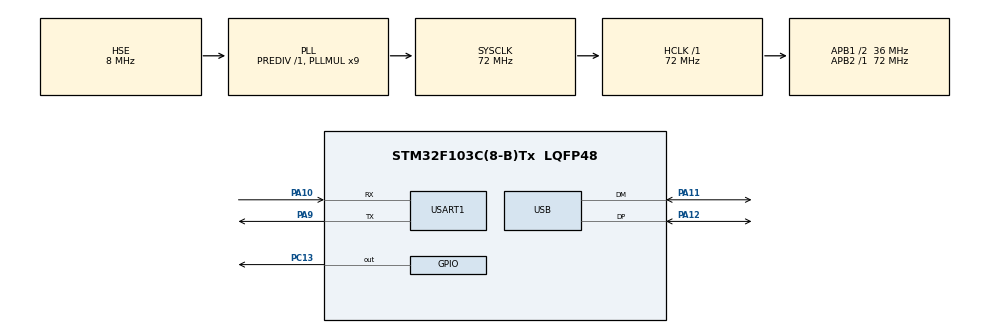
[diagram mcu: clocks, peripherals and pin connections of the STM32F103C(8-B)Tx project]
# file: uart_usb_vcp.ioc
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Dma.Request0=USART1_RX
Dma.Request1=USART1_TX
Dma.USART1_RX.0.Direction=DMA_PERIPH_TO_MEMORY
Dma.USART1_RX.0.Instance=DMA1_Channel5
Dma.USART1_RX.0.MemDataAlignment=DMA_MDATAALIGN_BYTE
Dma.USART1_RX.0.MemInc=DMA_MINC_ENABLE
Dma.USART1_RX.0.Mode=DMA_CIRCULAR
Dma.USART1_RX.0.PeriphDataAlignment=DMA_PDATAALIGN_BYTE
Dma.USART1_RX.0.PeriphInc=DMA_PINC_DISABLE
Dma.USART1_RX.0.Priority=DMA_PRIORITY_LOW
Dma.USART1_TX.1.Direction=DMA_MEMORY_TO_PERIPH
Dma.USART1_TX.1.Instance=DMA1_Channel4
Dma.USART1_TX.1.MemDataAlignment=DMA_MDATAALIGN_BYTE
Dma.USART1_TX.1.MemInc=DMA_MINC_ENABLE
Dma.USART1_TX.1.Mode=DMA_NORMAL
Dma.USART1_TX.1.PeriphDataAlignment=DMA_PDATAALIGN_BYTE
Dma.USART1_TX.1.PeriphInc=DMA_PINC_DISABLE
Dma.USART1_TX.1.Priority=DMA_PRIORITY_LOW
Mcu.Family=STM32F1
Mcu.Name=STM32F103C(8-B)Tx
Mcu.Package=LQFP48
NVIC.DMA1_Channel4_IRQn=true\:0\:0\:false\:false\:true
NVIC.DMA1_Channel5_IRQn=true\:0\:0\:false\:false\:true
NVIC.PriorityGroup=NVIC_PRIORITYGROUP_4
NVIC.USART1_IRQn=true\:0\:0\:false\:false\:true
NVIC.USB_LP_CAN1_RX0_IRQn=true\:0\:0\:false\:false\:true
PA10.Mode=Asynchronous
PA10.Signal=USART1_RX
PA11.Mode=Device
PA11.Signal=USB_DM
PA12.Mode=Device
PA12.Signal=USB_DP
PA9.Mode=Asynchronous
PA9.Signal=USART1_TX
PC13-TAMPER-RTC.Signal=GPIO_Output
PD0-OSC_IN.Mode=HSE-External-Oscillator
PD0-OSC_IN.Signal=RCC_OSC_IN
PD1-OSC_OUT.Mode=HSE-External-Oscillator
PD1-OSC_OUT.Signal=RCC_OSC_OUT
ProjectManager.HeapSize=0x200
ProjectManager.StackSize=0x400
ProjectManager.TargetToolchain=Makefile
RCC.AHBFreq_Value=72000000
RCC.APB1CLKDivider=RCC_HCLK_DIV2
RCC.APB1Freq_Value=36000000
RCC.APB1TimFreq_Value=72000000
RCC.APB2Freq_Value=72000000
RCC.APB2TimFreq_Value=72000000
RCC.HCLKFreq_Value=72000000
RCC.PLLMUL=RCC_PLL_MUL9
RCC.SYSCLKFreq_VALUE=72000000
RCC.SYSCLKSource=RCC_SYSCLKSOURCE_PLLCLK
RCC.USBFreq_Value=48000000
RCC.USBPrescaler=RCC_USBCLKSOURCE_PLL_DIV1_5
USART1.VirtualMode=VM_ASYNC
USB_DEVICE.CLASS_NAME_FS=CDC
USB_DEVICE.VirtualMode=Cdc
USB_DEVICE.VirtualModeFS=Cdc_FS
VP_USB_DEVICE_VS_USB_DEVICE_CDC_FS.Mode=CDC_FS
board=uart_usb_vcp

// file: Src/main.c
/**
  ******************************************************************************
  * File Name          : main.c
  * Description        : Main program body
  ******************************************************************************
  * This notice applies to any and all portions of this file
  * that are not between comment pairs USER CODE BEGIN and
  * USER CODE END. Other portions of this file, whether
  * inserted by the user or by software development tools
  * are owned by their respective copyright owners.
  *
  * Copyright (c) 2017 STMicroelectronics International N.V.
  * All rights reserved.
  *
  * Redistribution and use in source and binary forms, with or without
  * modification, are permitted, provided that the following conditions are met:
  *
  * 1. Redistribution of source code must retain the above copyright notice,
  *    this list of conditions and the following disclaimer.
  * 2. Redistributions in binary form must reproduce the above copyright notice,
  *    this list of conditions and the following disclaimer in the documentation
  *    and/or other materials provided with the distribution.
  * 3. Neither the name of STMicroelectronics nor the names of other
  *    contributors to this software may be used to endorse or promote products
  *    derived from this software without specific written permission.
  * 4. This software, including modifications and/or derivative works of this
  *    software, must execute solely and exclusively on microcontroller or
  *    microprocessor devices manufactured by or for STMicroelectronics.
  * 5. Redistribution and use of this software other than as permitted under
  *    this license is void and will automatically terminate your rights under
  *    this license.
  *
  * THIS SOFTWARE IS PROVIDED BY STMICROELECTRONICS AND CONTRIBUTORS "AS IS"
  * AND ANY EXPRESS, IMPLIED OR STATUTORY WARRANTIES, INCLUDING, BUT NOT
  * LIMITED TO, THE IMPLIED WARRANTIES OF MERCHANTABILITY, FITNESS FOR A
  * PARTICULAR PURPOSE AND NON-INFRINGEMENT OF THIRD PARTY INTELLECTUAL PROPERTY
  * RIGHTS ARE DISCLAIMED TO THE FULLEST EXTENT PERMITTED BY LAW. IN NO EVENT
  * SHALL STMICROELECTRONICS OR CONTRIBUTORS BE LIABLE FOR ANY DIRECT, INDIRECT,
  * INCIDENTAL, SPECIAL, EXEMPLARY, OR CONSEQUENTIAL DAMAGES (INCLUDING, BUT NOT
  * LIMITED TO, PROCUREMENT OF SUBSTITUTE GOODS OR SERVICES; LOSS OF USE, DATA,
  * OR PROFITS; OR BUSINESS INTERRUPTION) HOWEVER CAUSED AND ON ANY THEORY OF
  * LIABILITY, WHETHER IN CONTRACT, STRICT LIABILITY, OR TORT (INCLUDING
  * NEGLIGENCE OR OTHERWISE) ARISING IN ANY WAY OUT OF THE USE OF THIS SOFTWARE,
  * EVEN IF ADVISED OF THE POSSIBILITY OF SUCH DAMAGE.
  *
  ******************************************************************************
  */
#include "main.h"
#include "stm32f1xx_hal.h"
#include "dma.h"
#include "usart.h"
#include "usb_device.h"
#include "gpio.h"

/* USER CODE BEGIN Includes */
#include "usbd_cdc_if.h"
/* USER CODE END Includes */

/* USER CODE BEGIN PV */
/* Private variables ---------------------------------------------------------*/
uint8_t received[] = "                                                                                            \n\r";
uint8_t tosend[512];
uint32_t tosend_begin = 0;
uint32_t tosend_end = 0;
uint8_t saved[4096];
uint32_t numsaved=0;

uint8_t num_rx_rounds = 0;

/* USER CODE END PV */

void SystemClock_Config(void);

/* USER CODE BEGIN PFP */
/* Private function prototypes -----------------------------------------------*/

/* USER CODE END PFP */

/* USER CODE BEGIN 0 */

void UART_send_from_buffer()
{
  if (tosend_begin == tosend_end) { return; }

  HAL_UART_StateTypeDef state = HAL_UART_GetState(&huart1);
  if (state != HAL_UART_STATE_READY  &&
      state != HAL_UART_STATE_BUSY_RX) { return; }

  uint32_t end = tosend_end;
  if (tosend_begin < end) {
    // begin is before end. haven't wrapped.
    HAL_UART_Transmit_DMA(&huart1, tosend+tosend_begin, end-tosend_begin);
    tosend_begin = end;
  } else {
    // wrapping.
    HAL_UART_Transmit_DMA(&huart1, tosend+tosend_begin, sizeof(tosend)-tosend_begin);
    tosend_begin = 0;
  }

}

void enqueue(uint8_t *data, uint32_t length)
{
  for(int i=0; i<length; i++) {
    tosend[tosend_end] = data[i];
    saved[numsaved] = data[i];
    tosend_end++;
    numsaved++;
    if (tosend_end>=sizeof(tosend)) {
      tosend_end = 0;
      tosend[tosend_end] = 'x';
      tosend_end++;
      saved[numsaved] = 'x';
      numsaved++;
    }
    tosend[tosend_end] = 0;
    saved[numsaved] = 0;
  }

}

// from the terminal that I'm using, the data comes in two chunks
// the first is the data to be send.
// the second is a return and newline
void SendUART(uint8_t *data, uint32_t length)
{
  enqueue(data, length);
  // don't need to add the newline stuff if the stuff we're echoing is
  // already newlined.
  uint8_t extra[] = "x\n\r";
  // need the -1 because sizeof also needs the extra null termination.
  enqueue(extra, sizeof(extra)-1);

  UART_send_from_buffer();

}

// to talk to UART minicom --baudrate 115200 --device /dev/ttyUSB0
void HAL_UART_TxCpltCallback(UART_HandleTypeDef *huart)
{
  HAL_UART_StateTypeDef state = HAL_UART_GetState(huart);
  if (state == HAL_UART_STATE_READY) {

  } else {

  }

  UART_send_from_buffer();
}

void HAL_UART_RxCpltCallback (UART_HandleTypeDef *huart)
{
  num_rx_rounds++;

  // don't need to do anything. DMA is circular

# if 0
  // this is what we use if not dma
  __attribute__((unused)) HAL_StatusTypeDef state;

  // -3 because of \n \r and 0x0 to end the string
  state = HAL_UART_Receive_IT(&huart1, received, sizeof(received)-3);
#endif

}

/* USER CODE END 0 */

int main(void)
{

  /* MCU Configuration----------------------------------------------------------*/

  /* Reset of all peripherals, Initializes the Flash interface and the Systick. */
  HAL_Init();

  /* Configure the system clock */
  SystemClock_Config();

  /* Initialize all configured peripherals */
  MX_GPIO_Init();
  MX_DMA_Init();
  MX_USART1_UART_Init();
  MX_USB_DEVICE_Init();

  /* USER CODE BEGIN 2 */
  HAL_UART_Receive_DMA(&huart1, received, sizeof(received)-3);

  for(int i=0; i<sizeof(saved); i++) {
    saved[i] = 42;
  }

  /* USER CODE END 2 */

  /* Infinite loop */
  /* USER CODE BEGIN WHILE */

  uint32_t lasttime = 0;
  uint8_t uartmessage[] = "periodic uart\n";
  uint8_t usbmessage[]  = "periodic usb\n";
  uint8_t  blinkstate = 0;
  while (1)
  {
    uint32_t curtime = HAL_GetTick();
    if (((curtime % 1000) != 0) || (curtime == lasttime)) {
      continue;
    }
    lasttime = curtime;

    HAL_UART_StateTypeDef state = HAL_UART_GetState(&huart1);
    if (state == HAL_UART_STATE_READY  ||
        state == HAL_UART_STATE_BUSY_RX) {
      //HAL_UART_Transmit_IT(&huart1, uartmessage, sizeof(uartmessage));
    }

    //CDC_Transmit_FS(usbmessage, sizeof(usbmessage));
    while(CDC_GetTxState()) { /* empty */ }
    CDC_Transmit_FS(received, sizeof(received));

    if (blinkstate) {
      GPIOC->ODR |= GPIO_PIN_13;
    } else {
      GPIOC->ODR &= ~(GPIO_PIN_13);
    }
    blinkstate = !blinkstate;

  /* USER CODE END WHILE */

  }

}

/** System Clock Configuration
*/
void SystemClock_Config(void)
{

  RCC_OscInitTypeDef RCC_OscInitStruct;
  RCC_ClkInitTypeDef RCC_ClkInitStruct;
  RCC_PeriphCLKInitTypeDef PeriphClkInit;

    /**Initializes the CPU, AHB and APB busses clocks
    */
  RCC_OscInitStruct.OscillatorType = RCC_OSCILLATORTYPE_HSE;
  RCC_OscInitStruct.HSEState = RCC_HSE_ON;
  RCC_OscInitStruct.HSEPredivValue = RCC_HSE_PREDIV_DIV1;
  RCC_OscInitStruct.HSIState = RCC_HSI_ON;
  RCC_OscInitStruct.PLL.PLLState = RCC_PLL_ON;
  RCC_OscInitStruct.PLL.PLLSource = RCC_PLLSOURCE_HSE;
  RCC_OscInitStruct.PLL.PLLMUL = RCC_PLL_MUL9;
  if (HAL_RCC_OscConfig(&RCC_OscInitStruct) != HAL_OK)
  {
    _Error_Handler(__FILE__, __LINE__);
  }

    /**Initializes the CPU, AHB and APB busses clocks
    */
  RCC_ClkInitStruct.ClockType = RCC_CLOCKTYPE_HCLK|RCC_CLOCKTYPE_SYSCLK
                              |RCC_CLOCKTYPE_PCLK1|RCC_CLOCKTYPE_PCLK2;
  RCC_ClkInitStruct.SYSCLKSource = RCC_SYSCLKSOURCE_PLLCLK;
  RCC_ClkInitStruct.AHBCLKDivider = RCC_SYSCLK_DIV1;
  RCC_ClkInitStruct.APB1CLKDivider = RCC_HCLK_DIV2;
  RCC_ClkInitStruct.APB2CLKDivider = RCC_HCLK_DIV1;

  if (HAL_RCC_ClockConfig(&RCC_ClkInitStruct, FLASH_LATENCY_2) != HAL_OK)
  {
    _Error_Handler(__FILE__, __LINE__);
  }

  PeriphClkInit.PeriphClockSelection = RCC_PERIPHCLK_USB;
  PeriphClkInit.UsbClockSelection = RCC_USBCLKSOURCE_PLL_DIV1_5;
  if (HAL_RCCEx_PeriphCLKConfig(&PeriphClkInit) != HAL_OK)
  {
    _Error_Handler(__FILE__, __LINE__);
  }

    /**Configure the Systick interrupt time
    */
  HAL_SYSTICK_Config(HAL_RCC_GetHCLKFreq()/1000);

    /**Configure the Systick
    */
  HAL_SYSTICK_CLKSourceConfig(SYSTICK_CLKSOURCE_HCLK);

  /* SysTick_IRQn interrupt configuration */
  HAL_NVIC_SetPriority(SysTick_IRQn, 0, 0);
}

void _Error_Handler(char * file, int line)
{
  while(1)
  {
  }
}

/************************ (C) COPYRIGHT STMicroelectronics *****END OF FILE****/
